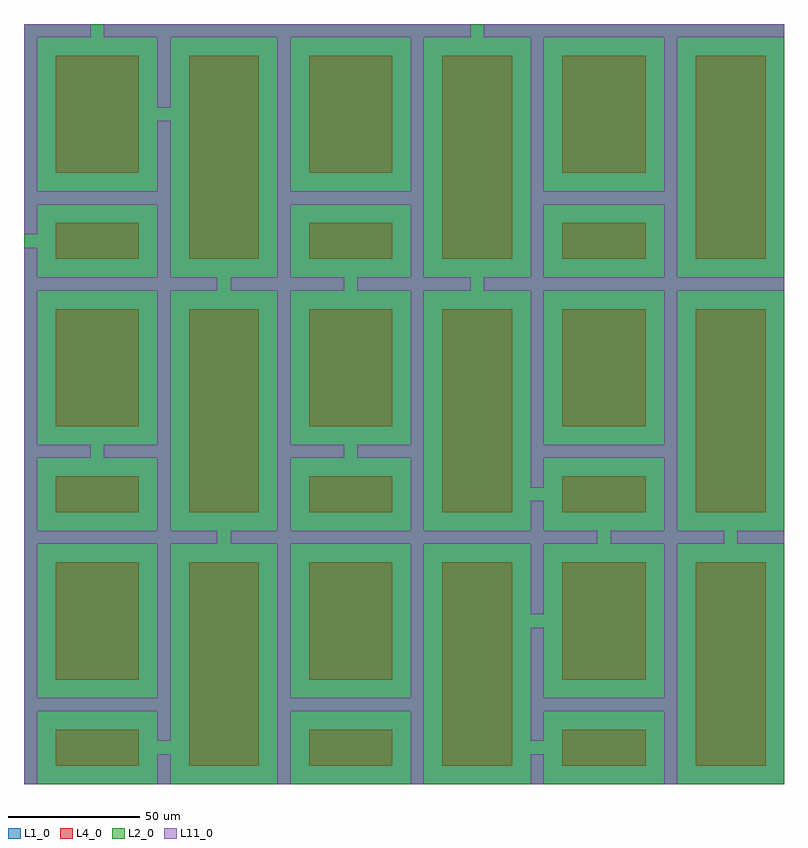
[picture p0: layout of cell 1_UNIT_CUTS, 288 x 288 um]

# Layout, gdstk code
import gdstk
lib = gdstk.Library(unit=1e-6, precision=1e-09)
def R(c, l, rs):  # rectangles x0, y0, x1, y1
    for r in rs: c.add(gdstk.rectangle(r[:2], r[2:], *l))
def P(c, l, *ps):  # polygons
    for p in ps: c.add(gdstk.Polygon(p, *l))
L1_0 = (1, 0)
L2_0 = (2, 0)
L4_0 = (4, 0)
L11_0 = (11, 0)

c_0_unit = lib.new_cell('0_UNIT')
R(c_0_unit, L1_0, [(0,0,96,96), (0,0,96,96), (0,0,96,96), (0,0,96,96), (0,0,96,96), (0,0,96,96), (0,0,96,96), (0,0,96,96), (0,0,96,96), (0,0,96,96), (0,0,96,96), (0,0,96,96), (0,0,96,96), (0,0,96,96), (0,0,96,96), (0,0,96,96), (0,0,96,96), (0,0,96,96), (0,0,96,96), (0,0,96,96), (0,0,96,96), (0,0,96,96)])
R(c_0_unit, L4_0, [(12,7,43.55,20.6), (12,7,43.55,20.6), (12,7,43.55,20.6), (12,7,43.55,20.6), (12,7,43.55,20.6), (12,7,43.55,20.6), (12,7,43.55,20.6), (12,7,43.55,20.6), (12,7,43.55,20.6), (12,7,43.55,20.6), (12,7,43.55,20.6), (12,7,43.55,20.6), (12,7,43.55,20.6), (12,7,43.55,20.6), (12,7,43.55,20.6), (12,7,43.55,20.6), (12,7,43.55,20.6), (12,7,43.55,20.6), (12,7,43.55,20.6), (12,7,43.55,20.6), (12,7,43.55,20.6), (12,7,43.55,20.6), (62.55,7,89,84), (62.55,7,89,84), (62.55,7,89,84), (62.55,7,89,84), (62.55,7,89,84), (62.55,7,89,84), (62.55,7,89,84), (62.55,7,89,84), (62.55,7,89,84), (62.55,7,89,84), (62.55,7,89,84), (62.55,7,89,84), (62.55,7,89,84), (62.55,7,89,84), (62.55,7,89,84), (62.55,7,89,84), (62.55,7,89,84), (62.55,7,89,84), (62.55,7,89,84), (62.55,7,89,84), (62.55,7,89,84), (62.55,7,89,84), (12,39.6,43.55,84), (12,39.6,43.55,84), (12,39.6,43.55,84), (12,39.6,43.55,84), (12,39.6,43.55,84), (12,39.6,43.55,84), (12,39.6,43.55,84), (12,39.6,43.55,84), (12,39.6,43.55,84), (12,39.6,43.55,84), (12,39.6,43.55,84), (12,39.6,43.55,84), (12,39.6,43.55,84), (12,39.6,43.55,84), (12,39.6,43.55,84), (12,39.6,43.55,84), (12,39.6,43.55,84), (12,39.6,43.55,84), (12,39.6,43.55,84), (12,39.6,43.55,84), (12,39.6,43.55,84), (12,39.6,43.55,84)])

c_1_unit = lib.new_cell('1_UNIT')
R(c_1_unit, L2_0, [(0,0,288,288), (0,0,288,288), (0,0,288,288), (0,0,288,288), (0,0,288,288), (0,0,288,288), (0,0,288,288), (0,0,288,288), (0,0,288,288), (0,0,288,288), (0,0,288,288), (0,0,288,288), (0,0,288,288), (0,0,288,288), (0,0,288,288), (0,0,288,288), (0,0,288,288), (0,0,288,288), (0,0,288,288), (0,0,288,288), (0,0,288,288), (0,0,288,288)])
r = gdstk.Reference(c_0_unit, (0,0)); r.repetition = gdstk.Repetition(3, 3, v1=(96,0), v2=(0,96)); c_1_unit.add(r)
r = gdstk.Reference(c_0_unit, (0,0)); r.repetition = gdstk.Repetition(3, 3, v1=(96,0), v2=(0,96)); c_1_unit.add(r)
r = gdstk.Reference(c_0_unit, (0,0)); r.repetition = gdstk.Repetition(3, 3, v1=(96,0), v2=(0,96)); c_1_unit.add(r)
r = gdstk.Reference(c_0_unit, (0,0)); r.repetition = gdstk.Repetition(3, 3, v1=(96,0), v2=(0,96)); c_1_unit.add(r)
r = gdstk.Reference(c_0_unit, (0,0)); r.repetition = gdstk.Repetition(3, 3, v1=(96,0), v2=(0,96)); c_1_unit.add(r)
r = gdstk.Reference(c_0_unit, (0,0)); r.repetition = gdstk.Repetition(3, 3, v1=(96,0), v2=(0,96)); c_1_unit.add(r)
r = gdstk.Reference(c_0_unit, (0,0)); r.repetition = gdstk.Repetition(3, 3, v1=(96,0), v2=(0,96)); c_1_unit.add(r)
r = gdstk.Reference(c_0_unit, (0,0)); r.repetition = gdstk.Repetition(3, 3, v1=(96,0), v2=(0,96)); c_1_unit.add(r)
r = gdstk.Reference(c_0_unit, (0,0)); r.repetition = gdstk.Repetition(3, 3, v1=(96,0), v2=(0,96)); c_1_unit.add(r)
r = gdstk.Reference(c_0_unit, (0,0)); r.repetition = gdstk.Repetition(3, 3, v1=(96,0), v2=(0,96)); c_1_unit.add(r)
r = gdstk.Reference(c_0_unit, (0,0)); r.repetition = gdstk.Repetition(3, 3, v1=(96,0), v2=(0,96)); c_1_unit.add(r)
r = gdstk.Reference(c_0_unit, (0,0)); r.repetition = gdstk.Repetition(3, 3, v1=(96,0), v2=(0,96)); c_1_unit.add(r)
r = gdstk.Reference(c_0_unit, (0,0)); r.repetition = gdstk.Repetition(3, 3, v1=(96,0), v2=(0,96)); c_1_unit.add(r)
r = gdstk.Reference(c_0_unit, (0,0)); r.repetition = gdstk.Repetition(3, 3, v1=(96,0), v2=(0,96)); c_1_unit.add(r)
r = gdstk.Reference(c_0_unit, (0,0)); r.repetition = gdstk.Repetition(3, 3, v1=(96,0), v2=(0,96)); c_1_unit.add(r)
r = gdstk.Reference(c_0_unit, (0,0)); r.repetition = gdstk.Repetition(3, 3, v1=(96,0), v2=(0,96)); c_1_unit.add(r)
r = gdstk.Reference(c_0_unit, (0,0)); r.repetition = gdstk.Repetition(3, 3, v1=(96,0), v2=(0,96)); c_1_unit.add(r)
r = gdstk.Reference(c_0_unit, (0,0)); r.repetition = gdstk.Repetition(3, 3, v1=(96,0), v2=(0,96)); c_1_unit.add(r)
r = gdstk.Reference(c_0_unit, (0,0)); r.repetition = gdstk.Repetition(3, 3, v1=(96,0), v2=(0,96)); c_1_unit.add(r)
r = gdstk.Reference(c_0_unit, (0,0)); r.repetition = gdstk.Repetition(3, 3, v1=(96,0), v2=(0,96)); c_1_unit.add(r)
r = gdstk.Reference(c_0_unit, (0,0)); r.repetition = gdstk.Repetition(3, 3, v1=(96,0), v2=(0,96)); c_1_unit.add(r)
r = gdstk.Reference(c_0_unit, (0,0)); r.repetition = gdstk.Repetition(3, 3, v1=(96,0), v2=(0,96)); c_1_unit.add(r)

c_1_unit_cuts = lib.new_cell('1_UNIT_CUTS')
R(c_1_unit_cuts, L11_0, [(50.55,0,55.55,11.3), (192,0,197,11.3), (270.275,91,288,96)])
P(c_1_unit_cuts, L11_0, [(0,0),(0,91),(5,91),(5,32.6),(50.55,32.6),(50.55,91),(0,91),(0,187),(5,187),(5,128.6),(25.275,128.6),(25.275,123.6),(5,123.6),(5,96),(50.55,96),(50.55,123.6),(30.275,123.6),(30.275,128.6),(50.55,128.6),(50.55,187),(0,187),(0,203.3),(5,203.3),(5,192),(50.55,192),(50.55,219.6),(5,219.6),(5,208.3),(0,208.3),(0,288),(25.275,288),(25.275,283),(5,283),(5,224.6),(50.55,224.6),(50.55,251.3),(55.55,251.3),(55.55,192),(73.275,192),(73.275,187),(55.55,187),(55.55,96),(73.275,96),(73.275,91),(55.55,91),(55.55,16.3),(50.55,16.3),(50.55,27.6),(5,27.6),(5,0)],
  [(96,0),(96,91),(101,91),(101,32.6),(146.55,32.6),(146.55,91),(78.275,91),(78.275,96),(96,96),(96,187),(78.275,187),(78.275,192),(96,192),(96,219.6),(101,219.6),(101,192),(121.275,192),(121.275,187),(101,187),(101,128.6),(121.275,128.6),(121.275,123.6),(101,123.6),(101,96),(146.55,96),(146.55,123.6),(126.275,123.6),(126.275,128.6),(146.55,128.6),(146.55,187),(126.275,187),(126.275,192),(146.55,192),(146.55,219.6),(96,219.6),(96,283),(55.55,283),(55.55,256.3),(50.55,256.3),(50.55,283),(101,283),(101,224.6),(146.55,224.6),(146.55,283),(30.275,283),(30.275,288),(169.275,288),(169.275,283),(151.55,283),(151.55,192),(169.275,192),(169.275,187),(151.55,187),(151.55,96),(192,96),(192,107.3),(197,107.3),(197,96),(217.275,96),(217.275,91),(197,91),(197,64.3),(192,64.3),(192,91),(151.55,91),(151.55,0),(146.55,0),(146.55,27.6),(101,27.6),(101,0)],
  [(242.55,0),(242.55,27.6),(197,27.6),(197,16.3),(192,16.3),(192,59.3),(197,59.3),(197,32.6),(242.55,32.6),(242.55,91),(222.275,91),(222.275,96),(242.55,96),(242.55,123.6),(197,123.6),(197,112.3),(192,112.3),(192,187),(197,187),(197,128.6),(242.55,128.6),(242.55,187),(174.275,187),(174.275,192),(192,192),(192,219.6),(197,219.6),(197,192),(242.55,192),(242.55,219.6),(192,219.6),(192,283),(197,283),(197,224.6),(242.55,224.6),(242.55,283),(174.275,283),(174.275,288),(288,288),(288,283),(247.55,283),(247.55,192),(288,192),(288,187),(247.55,187),(247.55,96),(265.275,96),(265.275,91),(247.55,91),(247.55,0)])
c_1_unit_cuts.add(gdstk.Reference(c_1_unit, (0,0)))

lib.write_gds('1_UNIT_CUTS.gds')
